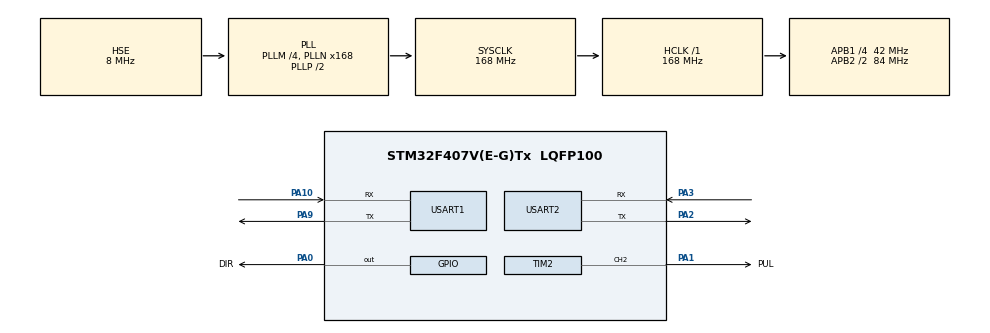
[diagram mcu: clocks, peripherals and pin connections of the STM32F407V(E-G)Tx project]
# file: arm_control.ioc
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Dma.Request0=USART1_RX
Dma.Request1=USART1_TX
Dma.Request2=USART2_TX
Dma.USART1_RX.0.Direction=DMA_PERIPH_TO_MEMORY
Dma.USART1_RX.0.FIFOMode=DMA_FIFOMODE_DISABLE
Dma.USART1_RX.0.Instance=DMA2_Stream2
Dma.USART1_RX.0.MemDataAlignment=DMA_MDATAALIGN_BYTE
Dma.USART1_RX.0.MemInc=DMA_MINC_ENABLE
Dma.USART1_RX.0.Mode=DMA_NORMAL
Dma.USART1_RX.0.PeriphDataAlignment=DMA_PDATAALIGN_BYTE
Dma.USART1_RX.0.PeriphInc=DMA_PINC_DISABLE
Dma.USART1_RX.0.Priority=DMA_PRIORITY_LOW
Dma.USART1_TX.1.Direction=DMA_MEMORY_TO_PERIPH
Dma.USART1_TX.1.FIFOMode=DMA_FIFOMODE_DISABLE
Dma.USART1_TX.1.Instance=DMA2_Stream7
Dma.USART1_TX.1.MemDataAlignment=DMA_MDATAALIGN_BYTE
Dma.USART1_TX.1.MemInc=DMA_MINC_ENABLE
Dma.USART1_TX.1.Mode=DMA_NORMAL
Dma.USART1_TX.1.PeriphDataAlignment=DMA_PDATAALIGN_BYTE
Dma.USART1_TX.1.PeriphInc=DMA_PINC_DISABLE
Dma.USART1_TX.1.Priority=DMA_PRIORITY_LOW
Dma.USART2_TX.2.Direction=DMA_MEMORY_TO_PERIPH
Dma.USART2_TX.2.FIFOMode=DMA_FIFOMODE_DISABLE
Dma.USART2_TX.2.Instance=DMA1_Stream6
Dma.USART2_TX.2.MemDataAlignment=DMA_MDATAALIGN_BYTE
Dma.USART2_TX.2.MemInc=DMA_MINC_ENABLE
Dma.USART2_TX.2.Mode=DMA_NORMAL
Dma.USART2_TX.2.PeriphDataAlignment=DMA_PDATAALIGN_BYTE
Dma.USART2_TX.2.PeriphInc=DMA_PINC_DISABLE
Dma.USART2_TX.2.Priority=DMA_PRIORITY_LOW
Mcu.Family=STM32F4
Mcu.Name=STM32F407V(E-G)Tx
Mcu.Package=LQFP100
NVIC.DMA1_Stream6_IRQn=true\:0\:0\:false\:false\:true\:false\:true\:true
NVIC.DMA2_Stream2_IRQn=true\:0\:0\:false\:false\:true\:false\:true\:true
NVIC.DMA2_Stream7_IRQn=true\:0\:0\:false\:false\:true\:false\:true\:true
NVIC.PriorityGroup=NVIC_PRIORITYGROUP_4
NVIC.TIM2_IRQn=true\:0\:0\:false\:false\:true\:true\:true\:true
NVIC.USART1_IRQn=true\:0\:0\:false\:false\:true\:true\:true\:true
NVIC.USART2_IRQn=true\:0\:0\:false\:false\:true\:true\:true\:true
PA0-WKUP.GPIO_Label=DIR
PA0-WKUP.PinState=GPIO_PIN_SET
PA0-WKUP.Signal=GPIO_Output
PA1.GPIO_Label=PUL
PA1.Signal=S_TIM2_CH2
PA10.Mode=Asynchronous
PA10.Signal=USART1_RX
PA2.Mode=Asynchronous
PA2.Signal=USART2_TX
PA3.Mode=Asynchronous
PA3.Signal=USART2_RX
PA9.Mode=Asynchronous
PA9.Signal=USART1_TX
PH0-OSC_IN.Mode=HSE-External-Oscillator
PH0-OSC_IN.Signal=RCC_OSC_IN
PH1-OSC_OUT.Mode=HSE-External-Oscillator
PH1-OSC_OUT.Signal=RCC_OSC_OUT
ProjectManager.HeapSize=0x200
ProjectManager.StackSize=0x400
ProjectManager.TargetToolchain=STM32CubeIDE
RCC.48MHZClocksFreq_Value=84000000
RCC.AHBFreq_Value=168000000
RCC.APB1CLKDivider=RCC_HCLK_DIV4
RCC.APB1Freq_Value=42000000
RCC.APB1TimFreq_Value=84000000
RCC.APB2CLKDivider=RCC_HCLK_DIV2
RCC.APB2Freq_Value=84000000
RCC.APB2TimFreq_Value=168000000
RCC.CortexFreq_Value=168000000
RCC.HCLKFreq_Value=168000000
RCC.HSE_VALUE=8000000
RCC.HSI_VALUE=16000000
RCC.LSE_VALUE=32768
RCC.PLLM=4
RCC.PLLN=168
RCC.PLLSourceVirtual=RCC_PLLSOURCE_HSE
RCC.SYSCLKFreq_VALUE=168000000
RCC.SYSCLKSource=RCC_SYSCLKSOURCE_PLLCLK
RCC.VCOOutputFreq_Value=336000000
SH.S_TIM2_CH2.0=TIM2_CH2,PWM Generation2 CH2
TIM2.AutoReloadPreload=TIM_AUTORELOAD_PRELOAD_ENABLE
TIM2.Channel-PWM\ Generation2\ CH2=TIM_CHANNEL_2
TIM2.Period=1000-1
TIM2.Prescaler=84-1
TIM2.Pulse-PWM\ Generation2\ CH2=500
USART1.VirtualMode=VM_ASYNC
USART2.VirtualMode=VM_ASYNC
VP_TIM2_VS_ClockSourceINT.Mode=Internal
board=custom

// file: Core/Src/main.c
/* USER CODE BEGIN Header */
/**
  ******************************************************************************
  * @file           : main.c
  * @brief          : Main program body
  ******************************************************************************
  * @attention
  *
  * Copyright (c) 2024 STMicroelectronics.
  * All rights reserved.
  *
  * This software is licensed under terms that can be found in the LICENSE file
  * in the root directory of this software component.
  * If no LICENSE file comes with this software, it is provided AS-IS.
  *
  ******************************************************************************
  */
/* USER CODE END Header */
#include "main.h"

/* USER CODE BEGIN Includes */
#include <stdio.h>
#include <string.h>
/* USER CODE END Includes */

TIM_HandleTypeDef htim2;

UART_HandleTypeDef huart1;
UART_HandleTypeDef huart2;
DMA_HandleTypeDef hdma_usart1_rx;
DMA_HandleTypeDef hdma_usart1_tx;
DMA_HandleTypeDef hdma_usart2_tx;

/* USER CODE BEGIN PV */
uint8_t control_message[3];
/* USER CODE END PV */

void SystemClock_Config(void);
static void MX_GPIO_Init(void);
static void MX_DMA_Init(void);
static void MX_TIM2_Init(void);
static void MX_USART1_UART_Init(void);
static void MX_USART2_UART_Init(void);

/* USER CODE BEGIN 0 */
void HAL_TIM_PWM_PulseFinishedCallback(TIM_HandleTypeDef *htim);
void HAL_UART_RxCpltCallback(UART_HandleTypeDef *huart)
{
	if (huart == &huart1)
	{
		HAL_UART_Transmit_DMA(&huart2, control_message, 3);
		if (control_message[0] == 0xAA)
		{
			if (control_message[1] == 0x01)
			{
				if (control_message[2] == 0x00) HAL_GPIO_WritePin(DIR_GPIO_Port, DIR_Pin, GPIO_PIN_RESET);
				else if (control_message[2] == 0x01) HAL_GPIO_WritePin(DIR_GPIO_Port, DIR_Pin, GPIO_PIN_SET);
				HAL_TIM_PWM_Start_IT(&htim2,TIM_CHANNEL_2);
			}
			else
			{
				HAL_TIM_PWM_Stop_IT(&htim2,TIM_CHANNEL_2);
			}
		}
		HAL_UART_Receive_DMA(huart, control_message, 3);
	}
}
/* USER CODE END 0 */

int main(void)
{

  /* MCU Configuration--------------------------------------------------------*/

  /* Reset of all peripherals, Initializes the Flash interface and the Systick. */
  HAL_Init();

  /* Configure the system clock */
  SystemClock_Config();

  /* Initialize all configured peripherals */
  MX_GPIO_Init();
  MX_DMA_Init();
  MX_TIM2_Init();
  MX_USART1_UART_Init();
  MX_USART2_UART_Init();
  /* USER CODE BEGIN 2 */
  //HAL_TIM_PWM_Start_IT(&htim2,TIM_CHANNEL_2);
  HAL_UART_Receive_DMA(&huart1, control_message, 3);
  /* USER CODE END 2 */

  /* Infinite loop */
  while (1)
  {

  }
}

void SystemClock_Config(void)
{
  RCC_OscInitTypeDef RCC_OscInitStruct = {0};
  RCC_ClkInitTypeDef RCC_ClkInitStruct = {0};

  /** Configure the main internal regulator output voltage
  */
  __HAL_RCC_PWR_CLK_ENABLE();
  __HAL_PWR_VOLTAGESCALING_CONFIG(PWR_REGULATOR_VOLTAGE_SCALE1);

  /** Initializes the RCC Oscillators according to the specified parameters
  * in the RCC_OscInitTypeDef structure.
  */
  RCC_OscInitStruct.OscillatorType = RCC_OSCILLATORTYPE_HSE;
  RCC_OscInitStruct.HSEState = RCC_HSE_ON;
  RCC_OscInitStruct.PLL.PLLState = RCC_PLL_ON;
  RCC_OscInitStruct.PLL.PLLSource = RCC_PLLSOURCE_HSE;
  RCC_OscInitStruct.PLL.PLLM = 4;
  RCC_OscInitStruct.PLL.PLLN = 168;
  RCC_OscInitStruct.PLL.PLLP = RCC_PLLP_DIV2;
  RCC_OscInitStruct.PLL.PLLQ = 4;
  if (HAL_RCC_OscConfig(&RCC_OscInitStruct) != HAL_OK)
  {
    Error_Handler();
  }

  /** Initializes the CPU, AHB and APB buses clocks
  */
  RCC_ClkInitStruct.ClockType = RCC_CLOCKTYPE_HCLK|RCC_CLOCKTYPE_SYSCLK
                              |RCC_CLOCKTYPE_PCLK1|RCC_CLOCKTYPE_PCLK2;
  RCC_ClkInitStruct.SYSCLKSource = RCC_SYSCLKSOURCE_PLLCLK;
  RCC_ClkInitStruct.AHBCLKDivider = RCC_SYSCLK_DIV1;
  RCC_ClkInitStruct.APB1CLKDivider = RCC_HCLK_DIV4;
  RCC_ClkInitStruct.APB2CLKDivider = RCC_HCLK_DIV2;

  if (HAL_RCC_ClockConfig(&RCC_ClkInitStruct, FLASH_LATENCY_5) != HAL_OK)
  {
    Error_Handler();
  }
}

static void MX_TIM2_Init(void)
{

  TIM_ClockConfigTypeDef sClockSourceConfig = {0};
  TIM_MasterConfigTypeDef sMasterConfig = {0};
  TIM_OC_InitTypeDef sConfigOC = {0};

  htim2.Instance = TIM2;
  htim2.Init.Prescaler = 84-1;
  htim2.Init.CounterMode = TIM_COUNTERMODE_UP;
  htim2.Init.Period = 1000-1;
  htim2.Init.ClockDivision = TIM_CLOCKDIVISION_DIV1;
  htim2.Init.AutoReloadPreload = TIM_AUTORELOAD_PRELOAD_ENABLE;
  if (HAL_TIM_Base_Init(&htim2) != HAL_OK)
  {
    Error_Handler();
  }
  sClockSourceConfig.ClockSource = TIM_CLOCKSOURCE_INTERNAL;
  if (HAL_TIM_ConfigClockSource(&htim2, &sClockSourceConfig) != HAL_OK)
  {
    Error_Handler();
  }
  if (HAL_TIM_PWM_Init(&htim2) != HAL_OK)
  {
    Error_Handler();
  }
  sMasterConfig.MasterOutputTrigger = TIM_TRGO_RESET;
  sMasterConfig.MasterSlaveMode = TIM_MASTERSLAVEMODE_DISABLE;
  if (HAL_TIMEx_MasterConfigSynchronization(&htim2, &sMasterConfig) != HAL_OK)
  {
    Error_Handler();
  }
  sConfigOC.OCMode = TIM_OCMODE_PWM1;
  sConfigOC.Pulse = 500;
  sConfigOC.OCPolarity = TIM_OCPOLARITY_HIGH;
  sConfigOC.OCFastMode = TIM_OCFAST_DISABLE;
  if (HAL_TIM_PWM_ConfigChannel(&htim2, &sConfigOC, TIM_CHANNEL_2) != HAL_OK)
  {
    Error_Handler();
  }
  HAL_TIM_MspPostInit(&htim2);

}

static void MX_USART1_UART_Init(void)
{

  huart1.Instance = USART1;
  huart1.Init.BaudRate = 115200;
  huart1.Init.WordLength = UART_WORDLENGTH_8B;
  huart1.Init.StopBits = UART_STOPBITS_1;
  huart1.Init.Parity = UART_PARITY_NONE;
  huart1.Init.Mode = UART_MODE_TX_RX;
  huart1.Init.HwFlowCtl = UART_HWCONTROL_NONE;
  huart1.Init.OverSampling = UART_OVERSAMPLING_16;
  if (HAL_UART_Init(&huart1) != HAL_OK)
  {
    Error_Handler();
  }

}

static void MX_USART2_UART_Init(void)
{

  huart2.Instance = USART2;
  huart2.Init.BaudRate = 115200;
  huart2.Init.WordLength = UART_WORDLENGTH_8B;
  huart2.Init.StopBits = UART_STOPBITS_1;
  huart2.Init.Parity = UART_PARITY_NONE;
  huart2.Init.Mode = UART_MODE_TX_RX;
  huart2.Init.HwFlowCtl = UART_HWCONTROL_NONE;
  huart2.Init.OverSampling = UART_OVERSAMPLING_16;
  if (HAL_UART_Init(&huart2) != HAL_OK)
  {
    Error_Handler();
  }

}

static void MX_DMA_Init(void)
{

  /* DMA controller clock enable */
  __HAL_RCC_DMA2_CLK_ENABLE();
  __HAL_RCC_DMA1_CLK_ENABLE();

  /* DMA interrupt init */
  /* DMA1_Stream6_IRQn interrupt configuration */
  HAL_NVIC_SetPriority(DMA1_Stream6_IRQn, 0, 0);
  HAL_NVIC_EnableIRQ(DMA1_Stream6_IRQn);
  /* DMA2_Stream2_IRQn interrupt configuration */
  HAL_NVIC_SetPriority(DMA2_Stream2_IRQn, 0, 0);
  HAL_NVIC_EnableIRQ(DMA2_Stream2_IRQn);
  /* DMA2_Stream7_IRQn interrupt configuration */
  HAL_NVIC_SetPriority(DMA2_Stream7_IRQn, 0, 0);
  HAL_NVIC_EnableIRQ(DMA2_Stream7_IRQn);

}

static void MX_GPIO_Init(void)
{
  GPIO_InitTypeDef GPIO_InitStruct = {0};

  /* GPIO Ports Clock Enable */
  __HAL_RCC_GPIOH_CLK_ENABLE();
  __HAL_RCC_GPIOA_CLK_ENABLE();

  /*Configure GPIO pin Output Level */
  HAL_GPIO_WritePin(DIR_GPIO_Port, DIR_Pin, GPIO_PIN_SET);

  /*Configure GPIO pin : DIR_Pin */
  GPIO_InitStruct.Pin = DIR_Pin;
  GPIO_InitStruct.Mode = GPIO_MODE_OUTPUT_PP;
  GPIO_InitStruct.Pull = GPIO_NOPULL;
  GPIO_InitStruct.Speed = GPIO_SPEED_FREQ_LOW;
  HAL_GPIO_Init(DIR_GPIO_Port, &GPIO_InitStruct);

}

void Error_Handler(void)
{
  __disable_irq();
  while (1)
  {
  }
}
